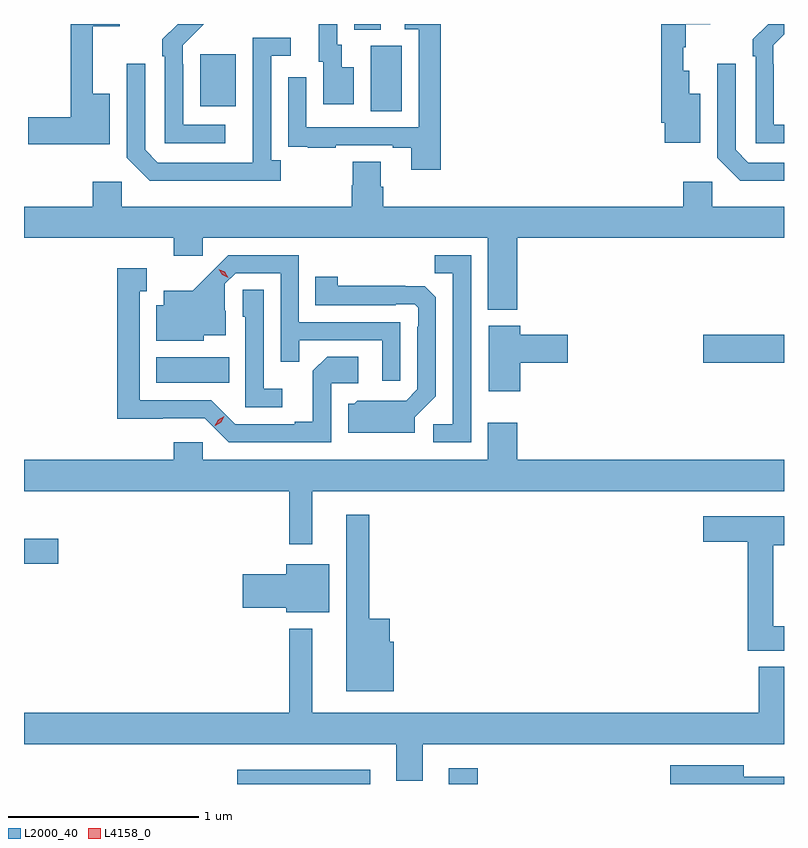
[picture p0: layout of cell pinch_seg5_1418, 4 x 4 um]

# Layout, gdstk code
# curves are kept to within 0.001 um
import gdstk
lib = gdstk.Library(unit=1e-6, precision=1e-09)
def R(c, l, rs):  # rectangles x0, y0, x1, y1
    for r in rs: c.add(gdstk.rectangle(r[:2], r[2:], *l))
def P(c, l, *ps):  # polygons
    for p in ps: c.add(gdstk.Polygon(p, *l))
L2000_40 = (2000, 40)
L4158_0 = (4158, 0)

pinch_seg5_1418 = lib.new_cell('pinch_seg5_1418')
R(pinch_seg5_1418, L2000_40, [(147.123,889.85,147.823,889.924), (148.235,889.85,148.388,889.933), (146,891.008,146.179,891.142), (146.696,891.962,147.08,892.096), (149.574,892.067,150,892.214), (147.824,893.392,147.988,893.736), (146.927,893.417,147.115,893.692), (147.737,893.821,147.877,893.85)])
P(pinch_seg5_1418, L2000_40, [(150,893.319),(149.946,893.319),(149.946,893.639),(149.943,893.639),(149.943,893.739),(150,893.796),(150,893.85),(149.916,893.85),(149.835,893.769),(149.835,893.681),(149.85,893.681),(149.85,893.223),(150,893.223)],
  [(147.736,893.623),(147.673,893.623),(147.673,893.742),(147.648,893.742),(147.648,893.85),(147.551,893.85),(147.551,893.652),(147.575,893.652),(147.575,893.427),(147.736,893.427)],
  [(147.058,893.319),(146.838,893.319),(146.838,893.639),(146.835,893.639),(146.835,893.739),(146.946,893.85),(146.808,893.85),(146.727,893.769),(146.727,893.681),(146.742,893.681),(146.742,893.223),(147.058,893.223)],
  [(146.452,893.482),(146.363,893.482),(146.363,893.838),(146.503,893.838),(146.503,893.85),(146.245,893.85),(146.245,893.36),(146.022,893.36),(146.022,893.218),(146.452,893.218)],
  [(149.56,893.482),(149.5,893.482),(149.5,893.605),(149.471,893.605),(149.471,893.727),(149.482,893.727),(149.482,893.848),(149.611,893.848),(149.611,893.85),(149.353,893.85),(149.353,893.329),(149.372,893.329),(149.372,893.225),(149.56,893.225)],
  [(148.193,893.85),(148.005,893.85),(148.005,893.823),(148.077,893.823),(148.077,893.307),(147.486,893.307),(147.486,893.569),(147.39,893.569),(147.39,893.314),(147.391,893.314),(147.391,893.205),(147.493,893.205),(147.493,893.199),(147.641,893.199),(147.641,893.211),(147.941,893.211),(147.941,893.199),(148.037,893.199),(148.037,893.082),(148.193,893.082)],
  [(147.352,893.134),(147.3,893.134),(147.3,893.682),(147.403,893.682),(147.403,893.778),(147.204,893.778),(147.203,893.121),(146.703,893.121),(146.637,893.187),(146.637,893.641),(146.541,893.641),(146.541,893.145),(146.662,893.024),(147.352,893.024)],
  [(150,893.121),(149.811,893.121),(149.745,893.187),(149.745,893.641),(149.649,893.641),(149.649,893.145),(149.77,893.024),(150,893.024)],
  [(148.595,892.724),(150,892.724),(150,892.888),(149.622,892.888),(149.622,893.02),(149.471,893.02),(149.471,892.888),(147.89,892.888),(147.89,892.994),(147.877,892.994),(147.877,893.126),(147.73,893.126),(147.73,893.001),(147.725,893.001),(147.725,892.888),(146.514,892.888),(146.514,893.02),(146.363,893.02),(146.363,892.888),(146,892.888),(146,892.724),(146.789,892.724),(146.789,892.629),(146.94,892.629),(146.94,892.724),(148.442,892.724),(148.442,892.346),(148.595,892.346)],
  [(148.353,892.632),(148.162,892.632),(148.162,892.537),(148.257,892.537),(148.257,891.744),(148.155,891.744),(148.155,891.648),(148.353,891.648)],
  [(147.981,892.281),(147.447,892.281),(147.447,892.632),(147.074,892.632),(146.887,892.447),(146.735,892.447),(146.735,892.369),(146.696,892.369),(146.696,892.184),(146.946,892.184),(146.946,892.211),(147.061,892.211),(147.061,892.34),(147.057,892.34),(147.057,892.482),(147.114,892.539),(147.351,892.539),(147.351,892.072),(147.449,892.072),(147.449,892.185),(147.885,892.185),(147.885,891.972),(147.981,891.972)],
  [(147.618,891.96),(147.76,891.96),(147.76,892.1),(147.595,892.1),(147.519,892.024),(147.519,891.757),(147.425,891.757),(147.425,891.744),(147.111,891.744),(146.985,891.87),(146.608,891.87),(146.608,892.443),(146.647,892.443),(146.647,892.564),(146.49,892.564),(146.49,891.773),(146.952,891.774),(147.078,891.648),(147.618,891.648)],
  [(148.057,891.78),(148.167,891.89),(148.167,892.412),(148.108,892.471),(147.651,892.472),(147.651,892.519),(147.532,892.519),(147.532,892.371),(147.956,892.371),(147.956,892.374),(148.056,892.374),(148.074,892.356),(148.074,892.256),(148.071,892.256),(148.071,891.927),(148.011,891.867),(147.754,891.868),(147.738,891.852),(147.707,891.852),(147.707,891.698),(148.057,891.698)],
  [(147.358,891.931),(147.261,891.931),(147.261,892.451),(147.15,892.451),(147.15,892.308),(147.165,892.308),(147.165,891.834),(147.358,891.834)],
  [(148.612,892.067),(148.861,892.067),(148.861,892.214),(148.612,892.214),(148.612,892.261),(148.445,892.261),(148.445,891.918),(148.612,891.918)],
  [(147.517,891.392),(150,891.392),(150,891.556),(148.595,891.556),(148.595,891.751),(148.442,891.751),(148.442,891.556),(146.94,891.556),(146.94,891.649),(146.789,891.649),(146.789,891.556),(146,891.556),(146,891.392),(147.396,891.392),(147.396,891.111),(147.517,891.111)],
  [(147.946,890.598),(147.925,890.598),(147.925,890.719),(147.817,890.719),(147.817,891.268),(147.695,891.268),(147.695,890.339),(147.946,890.339)],
  [(150,890.68),(149.944,890.68),(149.944,891.107),(150,891.107),(150,891.259),(149.574,891.259),(149.574,891.125),(149.81,891.125),(149.81,890.552),(150,890.552)],
  [(147.607,891.007),(147.38,891.007),(147.38,890.955),(147.15,890.955),(147.15,890.777),(147.38,890.777),(147.38,890.753),(147.607,890.753)],
  [(148.099,890.06),(150,890.06),(150,890.467),(149.867,890.467),(149.867,890.224),(147.517,890.224),(147.517,890.668),(147.396,890.668),(147.396,890.224),(146,890.224),(146,890.06),(147.959,890.06),(147.959,889.866),(148.099,889.866)],
  [(150,889.888),(149.788,889.888),(149.788,889.948),(149.4,889.948),(149.4,889.85),(150,889.85)])
P(pinch_seg5_1418, L4158_0, [(147.074,892.515),(147.043,892.53),(147.024,892.559),(147.024,892.559),(147.025,892.559),(147.056,892.545),(147.074,892.515),(147.074,892.515)],
  [(147.005,891.735),(147.005,891.735),(147.023,891.767),(147.055,891.786),(147.055,891.786),(147.055,891.786),(147.038,891.753),(147.006,891.735)])

lib.write_gds('pinch_seg5_1418.gds')
